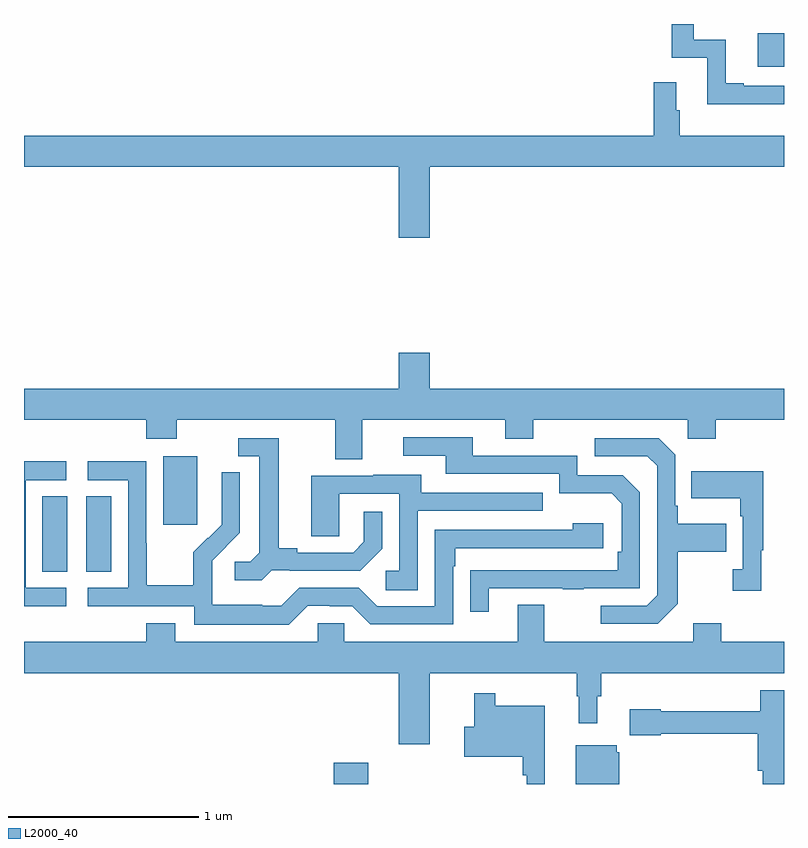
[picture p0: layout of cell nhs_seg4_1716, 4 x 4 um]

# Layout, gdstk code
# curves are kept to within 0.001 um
import gdstk
lib = gdstk.Library(unit=1e-6, precision=1e-09)
def R(c, l, rs):  # rectangles x0, y0, x1, y1
    for r in rs: c.add(gdstk.rectangle(r[:2], r[2:], *l))
def P(c, l, *ps):  # polygons
    for p in ps: c.add(gdstk.Polygon(p, *l))
L2000_40 = (2000, 40)

nhs_seg4_1716 = lib.new_cell('nhs_seg4_1716')
R(nhs_seg4_1716, L2000_40, [(200.63,798.9,200.813,799.012), (199.097,800.017,199.228,800.414), (199.328,800.017,199.459,800.414), (199.733,800.265,199.912,800.626), (202.862,802.676,203,802.852)])
P(nhs_seg4_1716, L2000_40, [(203,802.575),(202.789,802.575),(202.789,802.588),(202.693,802.588),(202.693,802.818),(202.524,802.818),(202.524,802.9),(202.408,802.9),(202.408,802.722),(202.595,802.722),(202.595,802.478),(203,802.478)],
  [(203,802.312),(202.451,802.312),(202.451,802.445),(202.432,802.445),(202.432,802.594),(202.315,802.594),(202.315,802.312),(199,802.312),(199,802.148),(200.972,802.148),(200.972,801.774),(201.136,801.774),(201.136,802.148),(203,802.148)],
  [(200.779,800.816),(201.533,800.816),(201.533,800.717),(201.681,800.717),(201.681,800.816),(202.494,800.816),(202.494,800.717),(202.641,800.717),(202.641,800.816),(203,800.816),(203,800.98),(201.136,800.98),(201.136,801.169),(200.972,801.169),(200.972,800.98),(199,800.98),(199,800.816),(199.643,800.816),(199.643,800.717),(199.803,800.717),(199.803,800.816),(200.639,800.816),(200.639,800.608),(200.779,800.608)],
  [(201.445,799.929),(201.835,799.929),(201.835,799.924),(201.947,799.924),(201.947,799.929),(202.242,799.929),(202.242,800.436),(202.152,800.526),(201.912,800.526),(201.912,800.628),(201.361,800.628),(201.361,800.724),(200.997,800.724),(200.997,800.628),(201.221,800.628),(201.221,800.532),(201.816,800.532),(201.816,800.429),(202.093,800.429),(202.146,800.376),(202.146,800.122),(202.126,800.122),(202.126,800.025),(201.349,800.024),(201.349,799.806),(201.445,799.806)],
  [(202.441,799.849),(202.441,800.122),(202.697,800.122),(202.697,800.269),(202.441,800.269),(202.441,800.365),(202.428,800.365),(202.428,800.634),(202.341,800.721),(202.005,800.721),(202.005,800.625),(202.281,800.625),(202.332,800.574),(202.332,799.893),(202.278,799.839),(202.035,799.839),(202.035,799.743),(202.335,799.743)],
  [(200.304,800.025),(200.398,800.025),(200.398,800.022),(200.77,800.022),(200.886,800.138),(200.886,800.332),(200.789,800.332),(200.789,800.175),(200.732,800.118),(200.437,800.118),(200.437,800.141),(200.341,800.141),(200.341,800.721),(200.127,800.721),(200.127,800.625),(200.237,800.625),(200.237,800.117),(200.19,800.07),(200.109,800.07),(200.109,799.973),(200.252,799.973)],
  [(199.222,799.932),(199.008,799.932),(199.008,800.499),(199.222,800.499),(199.222,800.598),(199,800.598),(199,799.836),(199.222,799.836)],
  [(200.493,799.839),(200.609,799.839),(200.609,799.836),(200.727,799.836),(200.823,799.74),(201.258,799.74),(201.258,800.045),(201.271,800.045),(201.271,800.142),(202.048,800.142),(202.048,800.272),(201.887,800.272),(201.887,800.238),(201.162,800.238),(201.162,799.836),(200.859,799.836),(200.763,799.932),(200.448,799.932),(200.355,799.839),(200.255,799.839),(200.255,799.843),(199.992,799.843),(199.992,799.977),(199.99,799.977),(199.99,800.074),(200.136,800.222),(200.136,800.54),(200.04,800.54),(200.04,800.386),(200.042,800.386),(200.042,800.264),(199.971,800.193),(199.968,800.196),(199.891,800.119),(199.891,799.945),(199.647,799.945),(199.647,800.168),(199.644,800.168),(199.644,800.598),(199.335,800.598),(199.335,800.499),(199.548,800.499),(199.548,799.932),(199.335,799.932),(199.335,799.836),(199.896,799.836),(199.896,799.739),(200.393,799.739)],
  [(202.879,800.129),(202.891,800.129),(202.891,800.545),(202.513,800.545),(202.513,800.405),(202.77,800.405),(202.77,800.309),(202.782,800.309),(202.782,800.03),(202.731,800.03),(202.731,799.917),(202.879,799.917)],
  [(201.072,800.337),(201.731,800.337),(201.731,800.433),(201.091,800.433),(201.091,800.527),(200.837,800.527),(200.837,800.523),(200.513,800.523),(200.513,800.203),(200.658,800.203),(200.658,800.427),(200.976,800.427),(200.976,800.022),(200.904,800.022),(200.904,799.921),(201.072,799.921)],
  [(201.909,799.361),(201.92,799.361),(201.92,799.221),(202.018,799.221),(202.018,799.361),(202.037,799.361),(202.037,799.484),(203,799.484),(203,799.648),(202.671,799.648),(202.671,799.747),(202.523,799.747),(202.523,799.648),(201.739,799.648),(201.739,799.843),(201.599,799.843),(201.599,799.648),(200.685,799.648),(200.685,799.746),(200.547,799.746),(200.547,799.648),(199.795,799.648),(199.795,799.747),(199.643,799.747),(199.643,799.648),(199,799.648),(199,799.484),(200.972,799.484),(200.972,799.11),(201.136,799.11),(201.136,799.484),(201.909,799.484)],
  [(203,799.393),(202.874,799.393),(202.874,799.283),(202.35,799.283),(202.35,799.294),(202.188,799.294),(202.188,799.157),(202.35,799.157),(202.35,799.165),(202.862,799.165),(202.862,798.971),(202.888,798.971),(202.888,798.9),(203,798.9)],
  [(201.742,799.312),(201.481,799.312),(201.481,799.378),(201.37,799.378),(201.37,799.201),(201.318,799.201),(201.318,799.043),(201.625,799.043),(201.625,798.947),(201.645,798.947),(201.645,798.9),(201.742,798.9)],
  [(202.132,799.068),(202.12,799.068),(202.12,799.105),(201.905,799.105),(201.905,798.9),(202.132,798.9)])

lib.write_gds('nhs_seg4_1716.gds')
